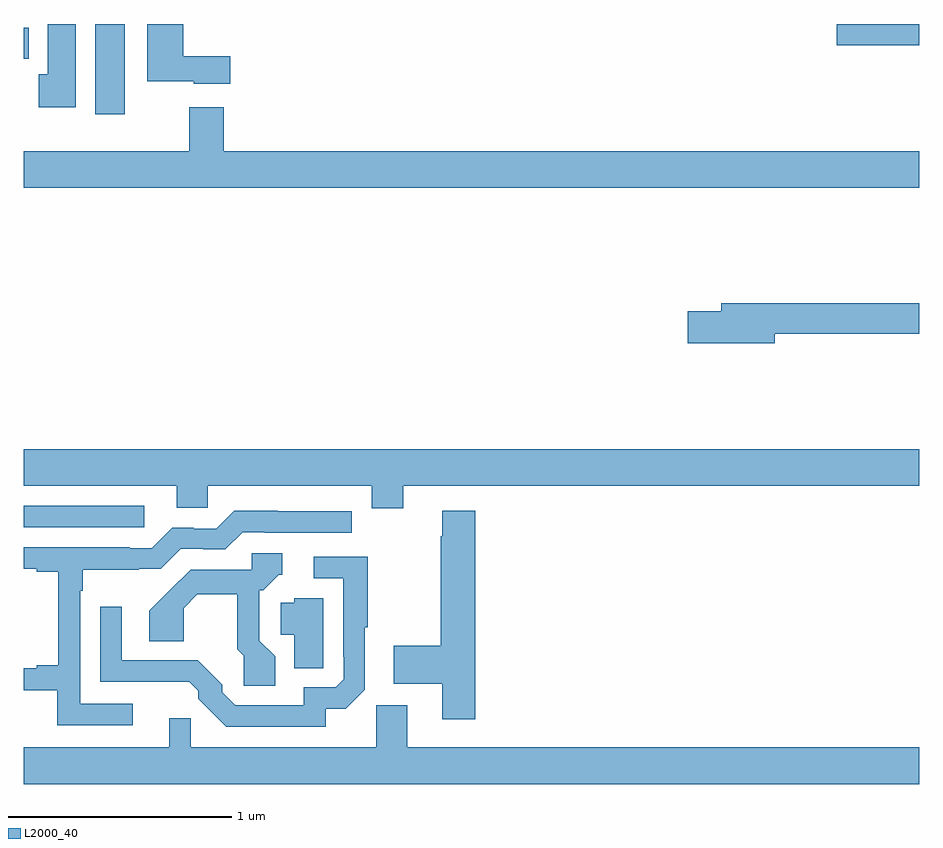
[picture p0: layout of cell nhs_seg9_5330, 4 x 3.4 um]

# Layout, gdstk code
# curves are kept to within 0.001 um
import gdstk
lib = gdstk.Library(unit=1e-6, precision=1e-09)
def R(c, l, rs):  # rectangles x0, y0, x1, y1
    for r in rs: c.add(gdstk.rectangle(r[:2], r[2:], *l))
def P(c, l, *ps):  # polygons
    for p in ps: c.add(gdstk.Polygon(p, *l))
L2000_40 = (2000, 40)

nhs_seg9_5330 = lib.new_cell('nhs_seg9_5330')
R(nhs_seg9_5330, L2000_40, [(421,1180.251,421.537,1180.347), (421.319,1182.096,421.45,1182.5), (421,1182.345,421.021,1182.484), (424.632,1182.406,425,1182.5)])
P(nhs_seg9_5330, L2000_40, [(421.231,1182.5),(421.106,1182.5),(421.106,1182.275),(421.067,1182.275),(421.067,1182.128),(421.231,1182.128)],
  [(421.921,1182.355),(421.712,1182.355),(421.712,1182.5),(421.55,1182.5),(421.55,1182.245),(421.758,1182.245),(421.758,1182.233),(421.921,1182.233)],
  [(425,1181.932),(421.892,1181.932),(421.892,1182.127),(421.739,1182.127),(421.739,1181.932),(421,1181.932),(421,1181.768),(425,1181.768)],
  [(424.354,1181.116),(425,1181.116),(425,1181.252),(424.115,1181.252),(424.115,1181.216),(423.966,1181.216),(423.966,1181.074),(424.354,1181.074)],
  [(422.695,1180.436),(425,1180.436),(425,1180.6),(421,1180.6),(421,1180.436),(421.682,1180.436),(421.682,1180.338),(421.821,1180.338),(421.821,1180.436),(422.555,1180.436),(422.555,1180.337),(422.695,1180.337)],
  [(423.017,1180.324),(422.87,1180.324),(422.87,1180.211),(422.863,1180.211),(422.863,1179.722),(422.652,1179.722),(422.652,1179.551),(422.87,1179.551),(422.87,1179.393),(423.017,1179.393)],
  [(421.486,1179.462),(421.251,1179.462),(421.251,1179.968),(421.264,1179.968),(421.264,1180.062),(421.514,1180.062),(421.514,1180.065),(421.611,1180.065),(421.701,1180.155),(421.802,1180.155),(421.802,1180.152),(421.899,1180.152),(421.977,1180.23),(422.077,1180.23),(422.077,1180.227),(422.464,1180.227),(422.464,1180.323),(421.939,1180.324),(421.86,1180.245),(421.76,1180.245),(421.76,1180.248),(421.662,1180.248),(421.572,1180.158),(421.472,1180.158),(421.472,1180.161),(421,1180.161),(421,1180.065),(421.058,1180.065),(421.058,1180.053),(421.154,1180.053),(421.154,1179.634),(421.058,1179.634),(421.058,1179.621),(421,1179.621),(421,1179.524),(421.15,1179.524),(421.15,1179.366),(421.486,1179.366)],
  [(422.122,1179.674),(422.052,1179.744),(422.052,1179.969),(422.07,1179.969),(422.139,1180.038),(422.155,1180.038),(422.155,1180.134),(422.019,1180.134),(422.019,1180.062),(421.745,1180.062),(421.648,1179.965),(421.647,1179.966),(421.56,1179.878),(421.56,1179.742),(421.714,1179.742),(421.714,1179.89),(421.775,1179.951),(421.954,1179.951),(421.954,1179.706),(421.983,1179.677),(421.983,1179.543),(422.122,1179.543)],
  [(422.349,1179.441),(422.438,1179.441),(422.524,1179.526),(422.524,1179.805),(422.536,1179.805),(422.536,1180.119),(422.295,1180.119),(422.295,1180.023),(422.427,1180.023),(422.427,1179.673),(422.43,1179.673),(422.43,1179.573),(422.394,1179.537),(422.25,1179.537),(422.25,1179.456),(421.944,1179.456),(421.887,1179.513),(421.887,1179.547),(421.777,1179.657),(421.437,1179.657),(421.437,1179.895),(421.341,1179.895),(421.341,1179.561),(421.738,1179.56),(421.779,1179.52),(421.779,1179.485),(421.904,1179.36),(422.349,1179.36)],
  [(422.337,1179.934),(422.208,1179.934),(422.208,1179.915),(422.148,1179.915),(422.148,1179.77),(422.207,1179.77),(422.207,1179.622),(422.337,1179.622)],
  [(425,1179.268),(422.713,1179.268),(422.713,1179.456),(422.575,1179.456),(422.575,1179.268),(421.745,1179.268),(421.745,1179.398),(421.649,1179.398),(421.649,1179.268),(421,1179.268),(421,1179.104),(425,1179.104)])

lib.write_gds('nhs_seg9_5330.gds')
